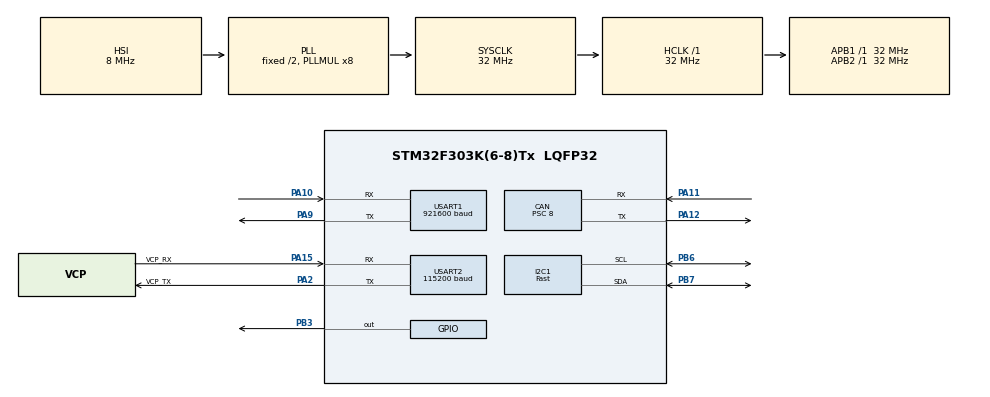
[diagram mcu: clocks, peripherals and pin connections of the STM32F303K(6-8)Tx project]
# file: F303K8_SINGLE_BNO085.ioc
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CAN.BS1=CAN_BS1_2TQ
CAN.CalculateBaudRate=1000000
CAN.CalculateTimeBit=1000
CAN.CalculateTimeQuantum=250.0
CAN.Prescaler=8
CAN.SJW=CAN_SJW_2TQ
I2C1.I2C_Speed_Mode=I2C_Fast
I2C1.Timing=0x00300F38
Mcu.Family=STM32F3
Mcu.Name=STM32F303K(6-8)Tx
Mcu.Package=LQFP32
NVIC.PriorityGroup=NVIC_PRIORITYGROUP_4
PA10.Mode=Asynchronous
PA10.Signal=USART1_RX
PA11.Mode=CAN_Activate
PA11.Signal=CAN_RX
PA12.Mode=CAN_Activate
PA12.Signal=CAN_TX
PA13.GPIO_Label=SWDIO
PA13.Mode=Serial_Wire
PA13.Signal=SYS_JTMS-SWDIO
PA14.GPIO_Label=SWCLK
PA14.Mode=Serial_Wire
PA14.Signal=SYS_JTCK-SWCLK
PA15.GPIO_Label=VCP_RX
PA15.Mode=Asynchronous
PA15.Signal=USART2_RX
PA2.GPIO_Label=VCP_TX
PA2.Mode=Asynchronous
PA2.Signal=USART2_TX
PA9.Mode=Asynchronous
PA9.Signal=USART1_TX
PB3.Signal=GPIO_Output
PB6.Mode=I2C
PB6.Signal=I2C1_SCL
PB7.Mode=I2C
PB7.Signal=I2C1_SDA
PF0\ /\ OSC_IN.GPIO_Label=MCO
PF0\ /\ OSC_IN.Mode=HSE-External-Clock-Source
PF0\ /\ OSC_IN.Signal=RCC_OSC_IN
ProjectManager.HeapSize=0x200
ProjectManager.StackSize=0x400
ProjectManager.TargetToolchain=STM32CubeIDE
RCC.AHBFreq_Value=32000000
RCC.APB1Freq_Value=32000000
RCC.APB1TimFreq_Value=32000000
RCC.APB2Freq_Value=32000000
RCC.APB2TimFreq_Value=32000000
RCC.CortexFreq_Value=32000000
RCC.HCLKFreq_Value=32000000
RCC.HSE_VALUE=8000000
RCC.HSI_VALUE=8000000
RCC.I2c1ClockSelection=RCC_I2C1CLKSOURCE_SYSCLK
RCC.PLLMUL=RCC_PLL_MUL8
RCC.SYSCLKFreq_VALUE=32000000
RCC.SYSCLKSourceVirtual=RCC_SYSCLKSOURCE_PLLCLK
TIM6.Period=19000
TIM6.Prescaler=32
USART1.BaudRate=921600
USART1.VirtualMode-Asynchronous=VM_ASYNC
USART2.BaudRate=115200
USART2.VirtualMode-Asynchronous=VM_ASYNC
VP_TIM6_VS_ClockSourceINT.Mode=Enable_Timer
board=NUCLEO-F303K8

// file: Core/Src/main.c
/* USER CODE BEGIN Header */
/**
  ******************************************************************************
  * @file           : main.c
  * @brief          : Main program body
  ******************************************************************************
  * @attention
  *
  * Copyright (c) 2024 STMicroelectronics.
  * All rights reserved.
  *
  * This software is licensed under terms that can be found in the LICENSE file
  * in the root directory of this software component.
  * If no LICENSE file comes with this software, it is provided AS-IS.
  *
  ******************************************************************************
  */
/* USER CODE END Header */
#include "main.h"

/* USER CODE BEGIN PTD */
typedef struct Quaternion {
	float qi;
	float qj;
	float qk;
	float qr;
	float acc;
} Quaternion_t;

typedef struct EulerAng {
	float roll;
	float pitch;
	float yaw;
	float acc;
} EulerAng_t;

typedef struct ARVRStabRotVectReport {
	uint8_t reportID;
	uint8_t repSeqNum;
	uint8_t repStatus;
	uint8_t repDelay;
	int16_t quat_i;
	int16_t quat_j;
	int16_t quat_k;
	int16_t quat_r;
	int16_t accEstim;
} ARVRStabRotVectReport_t;

/* USER CODE END PTD */

/* USER CODE BEGIN PD */

#define SCALE_Q(n) (1.0f / (1 << n))

/* USER CODE END PD */

CAN_HandleTypeDef hcan;

I2C_HandleTypeDef hi2c1;

TIM_HandleTypeDef htim6;

UART_HandleTypeDef huart1;
UART_HandleTypeDef huart2;

/* USER CODE BEGIN PV */
char outputString[500];
HAL_StatusTypeDef transmissionStatus;

uint8_t txDataI2C[500];
uint8_t rxDataI2C[500];
uint8_t txProdIDReqI2C[6] = {0x06,0x00,0x02,0x00,0xF9,0x00};
uint8_t txMisteryReqI2C[5] = {0x05,0x00,0x01,0x00,0x01};
uint8_t txSetFeatureI2C[21] = {0x15,0x00,0x02,0x01,0xFD,0x28,0x00,0x00,0x00,0x88,0x13,0x00,0x00,0x00,0x00,0x00,0x00,0x00,0x00,0x00,0x00};

uint8_t tgtAddr;
uint8_t bytes2Read;

GPIO_PinState button_state;
uint8_t execute_btn_actions;

Quaternion_t myQuat;
EulerAng_t myRollPitchYaw, myRPY, myRPYScaled;
ARVRStabRotVectReport_t myARVRReport;

float norm;

float sqi;
float sqj;
float sqk;
float sqr;

float sinr_cosp;
float cosr_cosp;
float sinp;
float cosp;
float siny_cosp;
float cosy_cosp;

// Private variables for CAN
CAN_FilterTypeDef canFltrCfg;
CAN_TxHeaderTypeDef canTxHeader;
//CAN_RxHeaderTypeDef canRxHeader;
uint32_t canMailbox;
uint8_t canTxMsg[8];

uint16_t tmp_uint16;

uint32_t tickStartCycle, tickEndCycle, tickLastStartCycle;

/* USER CODE END PV */

void SystemClock_Config(void);
static void MX_GPIO_Init(void);
static void MX_USART2_UART_Init(void);
static void MX_CAN_Init(void);
static void MX_I2C1_Init(void);
static void MX_USART1_UART_Init(void);
static void MX_TIM6_Init(void);
/* USER CODE BEGIN PFP */

uint8_t getARVRQuat(const ARVRStabRotVectReport_t* inputRep, Quaternion_t* quatStruct);
void canConfig(void);
void ClearCANPendingMessage(CAN_HandleTypeDef *pCANHandle, CAN_TxHeaderTypeDef *pHeader, uint8_t *pTxData, uint32_t *pTxMailbox);
void TransmitCANMessage(CAN_HandleTypeDef *pCANHandle, CAN_TxHeaderTypeDef *pHeader, uint8_t *pTxData, uint32_t *pTxMailbox);

/* USER CODE END PFP */

int main(void)
{

  /* MCU Configuration--------------------------------------------------------*/

  /* Reset of all peripherals, Initializes the Flash interface and the Systick. */
  HAL_Init();

  /* Configure the system clock */
  SystemClock_Config();

  /* Initialize all configured peripherals */
  MX_GPIO_Init();
  MX_USART2_UART_Init();
  MX_CAN_Init();
  MX_I2C1_Init();
  MX_USART1_UART_Init();
  MX_TIM6_Init();
  /* USER CODE BEGIN 2 */

  sprintf(outputString, "Application is starting...\r\n");
  transmissionStatus = HAL_UART_Transmit(&huart2, (uint8_t*)outputString, strlen(outputString), HAL_MAX_DELAY);

  // print SYSCLK Speed
  sprintf(outputString, "SYSCLK Speed: %ld\r\n", HAL_RCC_GetSysClockFreq());
  transmissionStatus = HAL_UART_Transmit(&huart2, (uint8_t*)outputString, strlen(outputString), HAL_MAX_DELAY);
  // print HCLK Speed
  sprintf(outputString, "HCLK Speed: %ld\r\n", HAL_RCC_GetHCLKFreq());
  transmissionStatus = HAL_UART_Transmit(&huart2, (uint8_t*)outputString, strlen(outputString), HAL_MAX_DELAY);
  // print PCLK1 Speed
  sprintf(outputString, "PCLK1 Speed: %ld\r\n", HAL_RCC_GetPCLK1Freq());
  transmissionStatus = HAL_UART_Transmit(&huart2, (uint8_t*)outputString, strlen(outputString), HAL_MAX_DELAY);
  // print PCLK2 Speed
  sprintf(outputString, "PCLK2 Speed: %ld\r\n", HAL_RCC_GetPCLK2Freq());
  transmissionStatus = HAL_UART_Transmit(&huart2, (uint8_t*)outputString, strlen(outputString), HAL_MAX_DELAY);

  // Configure CAN structures and state machine
  canConfig();

  //Default address
  tgtAddr = 0x4A << 1;

  //Alternate address
//  tgtAddrRed = 0x4B << 1;

	bytes2Read = 100;

	// first I2C transaction
	HAL_I2C_Master_Transmit(&hi2c1, tgtAddr, txMisteryReqI2C, 5, HAL_MAX_DELAY);
	sprintf(outputString, "BNO085 write: %x\r\n", txMisteryReqI2C);
	transmissionStatus = HAL_UART_Transmit(&huart2, (uint8_t*)outputString, strlen(outputString), HAL_MAX_DELAY);

	HAL_Delay(2);

	HAL_I2C_Master_Receive(&hi2c1, tgtAddr, rxDataI2C, bytes2Read, HAL_MAX_DELAY);
	sprintf(outputString, "BNO085 read: ");
	for (int i = 0; i < bytes2Read; i++)
	{
		sprintf(outputString + strlen(outputString), "%02x ", rxDataI2C[i]);
	}
    sprintf(outputString + strlen(outputString), "\r\n");
	transmissionStatus = HAL_UART_Transmit(&huart2, (uint8_t*)outputString, strlen(outputString), HAL_MAX_DELAY);

	HAL_Delay(10);

	// second I2C transaction
	HAL_I2C_Master_Transmit(&hi2c1, tgtAddr, txProdIDReqI2C, 6, HAL_MAX_DELAY);
	sprintf(outputString, "BNO085 write: %x\r\n", txProdIDReqI2C);
	transmissionStatus = HAL_UART_Transmit(&huart2, (uint8_t*)outputString, strlen(outputString), HAL_MAX_DELAY);

	HAL_Delay(2);

	HAL_I2C_Master_Receive(&hi2c1, tgtAddr, rxDataI2C, bytes2Read, HAL_MAX_DELAY);
	sprintf(outputString, "BNO085 read: ");
	for (int i = 0; i < bytes2Read; i++)
	{
		sprintf(outputString + strlen(outputString), "%02x ", rxDataI2C[i]);
	}
    sprintf(outputString + strlen(outputString), "\r\n");
	transmissionStatus = HAL_UART_Transmit(&huart2, (uint8_t*)outputString, strlen(outputString), HAL_MAX_DELAY);

	HAL_Delay(10);

	// third I2C transaction
	HAL_I2C_Master_Transmit(&hi2c1, tgtAddr, txSetFeatureI2C, 21, HAL_MAX_DELAY);
	sprintf(outputString, "BNO085 write: %x\r\n", txSetFeatureI2C);
	transmissionStatus = HAL_UART_Transmit(&huart2, (uint8_t*)outputString, strlen(outputString), HAL_MAX_DELAY);

	HAL_Delay(2);

	HAL_I2C_Master_Receive(&hi2c1, tgtAddr, rxDataI2C, bytes2Read, HAL_MAX_DELAY);
	sprintf(outputString, "BNO085 read: ");
	for (int i = 0; i < bytes2Read; i++)
	{
		sprintf(outputString + strlen(outputString), "%02x ", rxDataI2C[i]);
	}
    sprintf(outputString + strlen(outputString), "\r\n");
	transmissionStatus = HAL_UART_Transmit(&huart2, (uint8_t*)outputString, strlen(outputString), HAL_MAX_DELAY);

	HAL_Delay(10);

	bytes2Read = 80;

	// start timer
	HAL_TIM_Base_Start(&htim6);
	//HAL_TIM_Base_Start_IT(&htim6);
	tickStartCycle = HAL_GetTick();
	tickLastStartCycle = tickStartCycle;

  /* USER CODE END 2 */

  /* Infinite loop */
  /* USER CODE BEGIN WHILE */

  while (1)
  {
	  //wait for the time event
	  while(!(TIM6->SR & TIM_SR_UIF));
	  // Reset timer 6 status register
	  TIM6->SR = 0;
	  tickLastStartCycle = tickStartCycle;
	  tickStartCycle = HAL_GetTick();

	  // Turn LED on
	  //HAL_GPIO_WritePin(GPIOB, GPIO_PIN_3, GPIO_PIN_SET);

	  // Toggle LED
	  HAL_GPIO_TogglePin(GPIOB, GPIO_PIN_3);

	  // Primary sensor readout
		rxDataI2C[0] = 0;
		HAL_I2C_Master_Receive(&hi2c1, tgtAddr, rxDataI2C, bytes2Read, HAL_MAX_DELAY);

		// Confirm there is a response (if not, reconfigure BNO085)
		if (rxDataI2C[9] != 0x28)
		{
			// Reset the feature request
			HAL_I2C_Master_Transmit(&hi2c1, tgtAddr, txSetFeatureI2C, 21, HAL_MAX_DELAY);
			/*
			sprintf(outputString, "Primary   BNO085 write: %x\r\n", txSetFeatureI2C);
			transmissionStatus = HAL_UART_Transmit(&huart2, (uint8_t*)outputString, strlen(outputString), HAL_MAX_DELAY);
			*/

			HAL_Delay(1);
		}
		else
		{
			// Extract quaternion from ARVR stabilized rotation vector report
			getARVRQuat(&rxDataI2C[9], &myQuat);

			// Compute quaternion norm (to verify quaternion unity)
			norm = myQuat.qi*myQuat.qi+myQuat.qj*myQuat.qj+myQuat.qk*myQuat.qk+myQuat.qr*myQuat.qr;

			// convert quaternion to Euler angles
			sqi = (myQuat.qi*myQuat.qi);
			sqj = (myQuat.qj*myQuat.qj);
			sqk = (myQuat.qk*myQuat.qk);
			sqr = (myQuat.qr*myQuat.qr);

			myRollPitchYaw.roll = atan2(2.0 * (myQuat.qj * myQuat.qk + myQuat.qi * myQuat.qr), (-sqi - sqj + sqk + sqr));
			myRollPitchYaw.pitch = asin(-2.0 * (myQuat.qi * myQuat.qk - myQuat.qj * myQuat.qr) / (sqi + sqj + sqk + sqr));
			myRollPitchYaw.yaw = atan2(2.0 * (myQuat.qi * myQuat.qj + myQuat.qk * myQuat.qr), (sqi - sqj - sqk + sqr));

			// scale to degrees
			myRollPitchYaw.roll *= 180.0/3.14159265;
			myRollPitchYaw.pitch *= 180.0/3.14159265;
			myRollPitchYaw.yaw *= 180.0/3.14159265;

			myRPY.roll = myRollPitchYaw.roll;
			myRPY.pitch = myRollPitchYaw.pitch;
			myRPY.yaw = myRollPitchYaw.yaw;

			// copy over accuracy estimate
			myRPY.acc =  myQuat.acc;

			// convert to 16-bit values for transmission on CAN bus
			// CAN scale factor -> 400deg maps to 65536 count
			// need to offset by 200 deg as data is +/-180 degs
			myRPYScaled.roll = myRPY.roll + 200;
			myRPYScaled.pitch = myRPY.pitch + 200;
			myRPYScaled.yaw = myRPY.yaw + 200;
			myRPYScaled.roll *= 163.84;
			myRPYScaled.pitch *= 163.84;
			myRPYScaled.yaw *= 163.84;
			myRPYScaled.acc = myRPY.acc * 655.36;

			// Output to CAN bus
			// First clear any pending messages
			ClearCANPendingMessage(&hcan, &canTxHeader, canTxMsg, &canMailbox);
			// reformat Roll Pitch Yaw from floats to 16 bit scaled values
			tmp_uint16 = (uint16_t) myRPYScaled.roll;
			canTxMsg[0] = (uint8_t) (tmp_uint16 >> 8);
			canTxMsg[1] = (uint8_t) (tmp_uint16 & 0xff);
			tmp_uint16 = (uint16_t) myRPYScaled.pitch;
			canTxMsg[2] = (uint8_t) (tmp_uint16 >> 8);
			canTxMsg[3] = (uint8_t) (tmp_uint16 & 0xff);
			tmp_uint16 = (uint16_t) myRPYScaled.yaw;
			canTxMsg[4] = (uint8_t) (tmp_uint16 >> 8);
			canTxMsg[5] = (uint8_t) (tmp_uint16 & 0xff);
			tmp_uint16 = (uint16_t) myRPYScaled.acc;
			canTxMsg[6] = (uint8_t) (tmp_uint16 >> 8);
			canTxMsg[7] = (uint8_t) (tmp_uint16 & 0xff);
			canTxHeader.ExtId = 0x4080440;

			TransmitCANMessage(&hcan, &canTxHeader, canTxMsg, &canMailbox);
			//HAL_Delay(1);
		}

		/*
	// Verbose output
	sprintf(outputString, "Pri BNO085 Euler angles: %f, %f, %f; Red BNO085 Euler angles: %f, %f, %f\r\n",
			myRPY.roll, myRPY.pitch, myRPY.yaw, myRPYRed.roll, myRPYRed.pitch, myRPYRed.yaw);
	transmissionStatus = HAL_UART_Transmit(&huart2, (uint8_t*)outputString, strlen(outputString), HAL_MAX_DELAY);
	*/
		tickEndCycle = HAL_GetTick();

	// Numbers only output
	sprintf(outputString, "%f, %f, %f, %f, %f, %f, %f, %f, %i, %i\r\n", myQuat.qi, myQuat.qj, myQuat.qk, myQuat.qr,
			myRPY.roll, myRPY.pitch, myRPY.yaw, myRPY.acc, (tickEndCycle-tickStartCycle), (tickStartCycle-tickLastStartCycle));
	transmissionStatus = HAL_UART_Transmit(&huart2, (uint8_t*)outputString, strlen(outputString), HAL_MAX_DELAY);

	  // Turn LED off
	  //HAL_GPIO_WritePin(GPIOB, GPIO_PIN_3, GPIO_PIN_RESET);

    /* USER CODE END WHILE */

  }
}

void SystemClock_Config(void)
{
  RCC_OscInitTypeDef RCC_OscInitStruct = {0};
  RCC_ClkInitTypeDef RCC_ClkInitStruct = {0};
  RCC_PeriphCLKInitTypeDef PeriphClkInit = {0};

  /** Initializes the RCC Oscillators according to the specified parameters
  * in the RCC_OscInitTypeDef structure.
  */
  RCC_OscInitStruct.OscillatorType = RCC_OSCILLATORTYPE_HSI;
  RCC_OscInitStruct.HSIState = RCC_HSI_ON;
  RCC_OscInitStruct.HSICalibrationValue = RCC_HSICALIBRATION_DEFAULT;
  RCC_OscInitStruct.PLL.PLLState = RCC_PLL_ON;
  RCC_OscInitStruct.PLL.PLLSource = RCC_PLLSOURCE_HSI;
  RCC_OscInitStruct.PLL.PLLMUL = RCC_PLL_MUL8;
  if (HAL_RCC_OscConfig(&RCC_OscInitStruct) != HAL_OK)
  {
    Error_Handler();
  }

  /** Initializes the CPU, AHB and APB buses clocks
  */
  RCC_ClkInitStruct.ClockType = RCC_CLOCKTYPE_HCLK|RCC_CLOCKTYPE_SYSCLK
                              |RCC_CLOCKTYPE_PCLK1|RCC_CLOCKTYPE_PCLK2;
  RCC_ClkInitStruct.SYSCLKSource = RCC_SYSCLKSOURCE_PLLCLK;
  RCC_ClkInitStruct.AHBCLKDivider = RCC_SYSCLK_DIV1;
  RCC_ClkInitStruct.APB1CLKDivider = RCC_HCLK_DIV1;
  RCC_ClkInitStruct.APB2CLKDivider = RCC_HCLK_DIV1;

  if (HAL_RCC_ClockConfig(&RCC_ClkInitStruct, FLASH_LATENCY_1) != HAL_OK)
  {
    Error_Handler();
  }
  PeriphClkInit.PeriphClockSelection = RCC_PERIPHCLK_USART1|RCC_PERIPHCLK_I2C1;
  PeriphClkInit.Usart1ClockSelection = RCC_USART1CLKSOURCE_PCLK1;
  PeriphClkInit.I2c1ClockSelection = RCC_I2C1CLKSOURCE_SYSCLK;
  if (HAL_RCCEx_PeriphCLKConfig(&PeriphClkInit) != HAL_OK)
  {
    Error_Handler();
  }
}

static void MX_CAN_Init(void)
{

  hcan.Instance = CAN;
  hcan.Init.Prescaler = 8;
  hcan.Init.Mode = CAN_MODE_NORMAL;
  hcan.Init.SyncJumpWidth = CAN_SJW_2TQ;
  hcan.Init.TimeSeg1 = CAN_BS1_2TQ;
  hcan.Init.TimeSeg2 = CAN_BS2_1TQ;
  hcan.Init.TimeTriggeredMode = DISABLE;
  hcan.Init.AutoBusOff = DISABLE;
  hcan.Init.AutoWakeUp = DISABLE;
  hcan.Init.AutoRetransmission = DISABLE;
  hcan.Init.ReceiveFifoLocked = DISABLE;
  hcan.Init.TransmitFifoPriority = DISABLE;
  if (HAL_CAN_Init(&hcan) != HAL_OK)
  {
    Error_Handler();
  }
  /* USER CODE BEGIN CAN_Init 2 */

  SET_BIT(hcan.Instance->MCR, CAN_MCR_NART);

  /* USER CODE END CAN_Init 2 */

}

static void MX_I2C1_Init(void)
{

  hi2c1.Instance = I2C1;
  hi2c1.Init.Timing = 0x00300F38;
  hi2c1.Init.OwnAddress1 = 0;
  hi2c1.Init.AddressingMode = I2C_ADDRESSINGMODE_7BIT;
  hi2c1.Init.DualAddressMode = I2C_DUALADDRESS_DISABLE;
  hi2c1.Init.OwnAddress2 = 0;
  hi2c1.Init.OwnAddress2Masks = I2C_OA2_NOMASK;
  hi2c1.Init.GeneralCallMode = I2C_GENERALCALL_DISABLE;
  hi2c1.Init.NoStretchMode = I2C_NOSTRETCH_DISABLE;
  if (HAL_I2C_Init(&hi2c1) != HAL_OK)
  {
    Error_Handler();
  }

  /** Configure Analogue filter
  */
  if (HAL_I2CEx_ConfigAnalogFilter(&hi2c1, I2C_ANALOGFILTER_ENABLE) != HAL_OK)
  {
    Error_Handler();
  }

  /** Configure Digital filter
  */
  if (HAL_I2CEx_ConfigDigitalFilter(&hi2c1, 0) != HAL_OK)
  {
    Error_Handler();
  }

}

static void MX_TIM6_Init(void)
{

  TIM_MasterConfigTypeDef sMasterConfig = {0};

  htim6.Instance = TIM6;
  htim6.Init.Prescaler = 32;
  htim6.Init.CounterMode = TIM_COUNTERMODE_UP;
  htim6.Init.Period = 19000;
  htim6.Init.AutoReloadPreload = TIM_AUTORELOAD_PRELOAD_DISABLE;
  if (HAL_TIM_Base_Init(&htim6) != HAL_OK)
  {
    Error_Handler();
  }
  sMasterConfig.MasterOutputTrigger = TIM_TRGO_RESET;
  sMasterConfig.MasterSlaveMode = TIM_MASTERSLAVEMODE_DISABLE;
  if (HAL_TIMEx_MasterConfigSynchronization(&htim6, &sMasterConfig) != HAL_OK)
  {
    Error_Handler();
  }
  /* USER CODE BEGIN TIM6_Init 2 */

  //htim6.Init.Prescaler = 32;
  //htim6.Init.CounterMode = TIM_COUNTERMODE_UP;
  //htim6.Init.Period = 38000;
  //if (HAL_TIM_Base_Init(&htim6) != HAL_OK)
  //{
  //  Error_Handler();
  //}

  /* USER CODE END TIM6_Init 2 */

}

static void MX_USART1_UART_Init(void)
{

  huart1.Instance = USART1;
  huart1.Init.BaudRate = 921600;
  huart1.Init.WordLength = UART_WORDLENGTH_8B;
  huart1.Init.StopBits = UART_STOPBITS_1;
  huart1.Init.Parity = UART_PARITY_NONE;
  huart1.Init.Mode = UART_MODE_TX_RX;
  huart1.Init.HwFlowCtl = UART_HWCONTROL_NONE;
  huart1.Init.OverSampling = UART_OVERSAMPLING_16;
  huart1.Init.OneBitSampling = UART_ONE_BIT_SAMPLE_DISABLE;
  huart1.AdvancedInit.AdvFeatureInit = UART_ADVFEATURE_NO_INIT;
  if (HAL_UART_Init(&huart1) != HAL_OK)
  {
    Error_Handler();
  }

}

static void MX_USART2_UART_Init(void)
{

  huart2.Instance = USART2;
  huart2.Init.BaudRate = 115200;
  huart2.Init.WordLength = UART_WORDLENGTH_8B;
  huart2.Init.StopBits = UART_STOPBITS_1;
  huart2.Init.Parity = UART_PARITY_NONE;
  huart2.Init.Mode = UART_MODE_TX_RX;
  huart2.Init.HwFlowCtl = UART_HWCONTROL_NONE;
  huart2.Init.OverSampling = UART_OVERSAMPLING_16;
  huart2.Init.OneBitSampling = UART_ONE_BIT_SAMPLE_DISABLE;
  huart2.AdvancedInit.AdvFeatureInit = UART_ADVFEATURE_NO_INIT;
  if (HAL_UART_Init(&huart2) != HAL_OK)
  {
    Error_Handler();
  }

}

static void MX_GPIO_Init(void)
{
  GPIO_InitTypeDef GPIO_InitStruct = {0};

  /* GPIO Ports Clock Enable */
  __HAL_RCC_GPIOF_CLK_ENABLE();
  __HAL_RCC_GPIOA_CLK_ENABLE();
  __HAL_RCC_GPIOB_CLK_ENABLE();

  /*Configure GPIO pin Output Level */
  HAL_GPIO_WritePin(GPIOB, GPIO_PIN_3, GPIO_PIN_RESET);

  /*Configure GPIO pin : PB3 */
  GPIO_InitStruct.Pin = GPIO_PIN_3;
  GPIO_InitStruct.Mode = GPIO_MODE_OUTPUT_PP;
  GPIO_InitStruct.Pull = GPIO_NOPULL;
  GPIO_InitStruct.Speed = GPIO_SPEED_FREQ_LOW;
  HAL_GPIO_Init(GPIOB, &GPIO_InitStruct);

}

/* USER CODE BEGIN 4 */
uint8_t getARVRQuat(const ARVRStabRotVectReport_t* inputRep, Quaternion_t* quatStruct)
//uint8_t getARVRQuat(uint8_t *inputRep, Quaternion_t *quatStruct)
{

	if (inputRep->reportID != 0x28)
	{
		return 0;
	}
	quatStruct->qi = inputRep->quat_i * SCALE_Q(14);
	quatStruct->qj = inputRep->quat_j * SCALE_Q(14);
	quatStruct->qk = inputRep->quat_k * SCALE_Q(14);
	quatStruct->qr = inputRep->quat_r * SCALE_Q(14);
	quatStruct->acc = inputRep->accEstim * SCALE_Q(12);

	return 1;

}

void canConfig(void)
{
	  // Configure CAN filter
	  canFltrCfg.FilterMode = CAN_FILTERMODE_IDLIST;
	  //canFltrCfg.FilterMode = CAN_FILTERMODE_IDMASK;
	  canFltrCfg.FilterActivation = CAN_FILTER_ENABLE;
	  canFltrCfg.FilterBank = 0;
	  canFltrCfg.FilterFIFOAssignment = CAN_FILTER_FIFO0;
	  canFltrCfg.FilterIdHigh = (0x07EC << 5);
	  canFltrCfg.FilterIdLow = 0x0000;
	  //canFltrCfg.FilterMaskIdHigh = 0x0000;
	  canFltrCfg.FilterMaskIdHigh = (0x07E8 << 5);
	  canFltrCfg.FilterMaskIdLow = 0x0000;
	  canFltrCfg.FilterScale = CAN_FILTERSCALE_32BIT;

	  // Push filter configuration to CAN state machine
	  if (HAL_CAN_ConfigFilter(&hcan, &canFltrCfg) != HAL_OK)
	  {
		  Error_Handler();
	  }

	  // Configure message to be sent
	  canTxHeader.DLC = 8;
	  //canTxHeader.ExtId = 0x4040440;
	  //canTxHeader.StdId = 0x1;
	  canTxHeader.IDE = CAN_ID_EXT;
	  //canTxHeader.IDE = CAN_ID_STD;
	  canTxHeader.RTR = CAN_RTR_DATA;

	  // Put CAN state machine in ready mode (out of sleep and out of init)
	  if (HAL_CAN_Start(&hcan) != HAL_OK)
	  {
		  Error_Handler();
	  }

	  // if both MSR bit 0 (INAK) and MSR bit 1 (SLAK) are at zero, then CAN state machine is in ready mode
	  while (((hcan.Instance->MSR & (SET << 0)) == (SET << 0)) || ((hcan.Instance->MSR & (SET << 1)) == (SET << 1)));

}

void ClearCANPendingMessage(CAN_HandleTypeDef *pCANHandle, CAN_TxHeaderTypeDef *pHeader, uint8_t *pTxData, uint32_t *pTxMailbox)
{
	// Before sending new message, verify status of CAN engine
	// If there is a transmit error CAN->TSR->TERR0 == 1
	// Abort previous request by setting CAN->TSR->ABRQ0
	if ((pCANHandle->Instance->TSR & CAN_TSR_TERR0) == CAN_TSR_TERR0)
	{
		// request to abort previous tx
		SET_BIT(pCANHandle->Instance->TSR, CAN_TSR_ABRQ0);
		// set CAN master reset
	    SET_BIT(pCANHandle->Instance->MCR, CAN_MCR_RESET);
	    // force clear TERR0
	    CLEAR_BIT(pCANHandle->Instance->TSR, CAN_TSR_TERR0);
	    // reset can error status register?
	    //pCANHandle->Instance->TSR = 0;
		// go to initialization mode
	    //SET_BIT(pCANHandle->Instance->MCR, CAN_MCR_INRQ);
	    // go to normal mode (by clearing init flag
	    //CLEAR_BIT(pCANHandle->Instance->MCR, CAN_MCR_INRQ);
	    // go to normal mode (by clearing sleep flag
	    CLEAR_BIT(pCANHandle->Instance->MCR, CAN_MCR_SLEEP);

	}
}

void TransmitCANMessage(CAN_HandleTypeDef *pCANHandle, CAN_TxHeaderTypeDef *pHeader, uint8_t *pTxData, uint32_t *pTxMailbox)
{

    // enable no automatic retransmission bit (CAN message will only be sent once regardless of result)
    SET_BIT(pCANHandle->Instance->MCR, CAN_MCR_NART);
	  // Queue next CAN message for car OBD PID readout
	  if (HAL_CAN_AddTxMessage(pCANHandle, pHeader, pTxData, pTxMailbox) != HAL_OK)
	  {
		  Error_Handler();
	  }

	  // Wait for message to make it out on the CAN bus
	  //while (HAL_CAN_IsTxMessagePending(pCANHandle, *pTxMailbox) == 1);
}

/* USER CODE END 4 */

void Error_Handler(void)
{
  __disable_irq();
  while (1)
  {
  }
}
